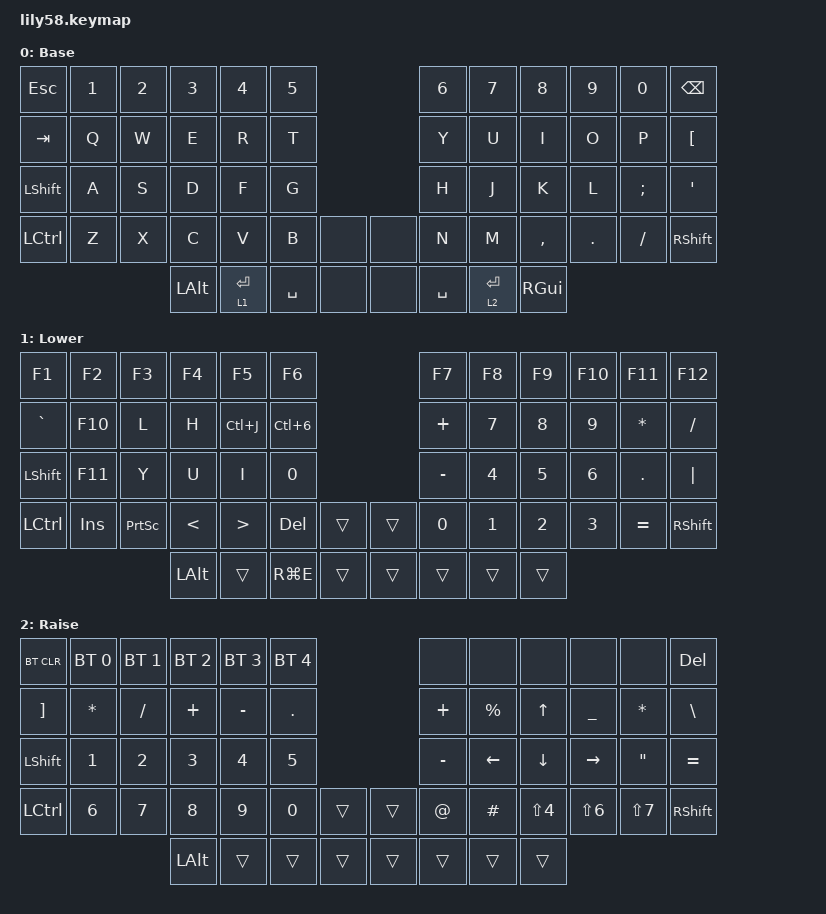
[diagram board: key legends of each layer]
/*
 * Copyright (c) 2020 The ZMK Contributors
 *
 * SPDX-License-Identifier: MIT
 */

#include <behaviors.dtsi>
#include <dt-bindings/zmk/bt.h>
#include <dt-bindings/zmk/keys.h>

/ {
    combos {
        compatible = "zmk,combos";

        Left_bracket {
            bindings = <&kp LEFT_BRACKET>;
            key-positions = <16 17>;
        };

        Right_bracket {
            bindings = <&kp RIGHT_BRACKET>;
            key-positions = <18 19>;
        };

        Left_parent {
            bindings = <&kp LEFT_PARENTHESIS>;
            key-positions = <28 29>;
        };

        Right_parent {
            bindings = <&kp RIGHT_PARENTHESIS>;
            key-positions = <30 31>;
        };

        Left_brace {
            bindings = <&kp LEFT_BRACE>;
            key-positions = <40 41>;
        };

        Right_brace {
            bindings = <&kp RIGHT_BRACE>;
            key-positions = <44 45>;
        };
    };

    behaviors {
        ss_hs_modmorph: ss_hs_modmorph {
            compatible = "zmk,behavior-mod-morph";
            label = "SS_HS_MODMORPH";
            bindings = <&kp M>, <&kp RIGHT_BRACKET>;

            #binding-cells = <0>;
            mods = <(MOD_LSFT|MOD_RSFT)>;
        };

        kh_hs_tapdance: kh_hs_tapdance {
            compatible = "zmk,behavior-tap-dance";
            label = "KH_HS_TAPDANCE";
            #binding-cells = <0>;
            tapping-term-ms = <200>;
            bindings = <&kp LEFT_BRACKET>, <&kp RIGHT_BRACKET>;
        };

        hrm: hrm {
            compatible = "zmk,behavior-hold-tap";
            #binding-cells = <2>;
            flavor = "tap-preferred";
            tapping-term-ms = <200>;
            quick-tap-ms = <200>;
            require-prior-idle-ms = <125>;
            bindings = <&kp>, <&kp>;
        };
    };

    keymap {
        compatible = "zmk,keymap";

        Base {
            // ------------------------------------------------------------------------------------------------------------
            // |  ESC  |  1  |  2  |  3   |  4   |  5   |                   |  6   |  7    |  8    |  9   |   0   |   `   |
            // |  TAB  |  Q  |  W  |  E   |  R   |  T   |                   |  Y   |  U    |  I    |  O   |   P   |   -   |
            // |  CTRL |  A  |  S  |  D   |  F   |  G   |                   |  H   |  J    |  K    |  L   |   ;   |   '   |
            // | SHIFT |  Z  |  X  |  C   |  V   |  B   |   "["  |  |  "]"  |  N   |  M    |  ,    |  .   |   /   | SHIFT |
            //                     | ALT  | GUI  | LOWER|  SPACE |  | ENTER | RAISE| BSPC  | GUI   |

            bindings = <
&kp ESC           &kp NUMBER_1  &kp NUMBER_2  &kp NUMBER_3  &kp NUMBER_4  &kp NUMBER_5                  &kp NUMBER_6  &kp NUMBER_7  &kp NUMBER_8  &kp NUMBER_9  &kp NUMBER_0  &kp BACKSPACE
&kp TAB           &kp Q         &kp W         &kp E         &kp R         &kp T                         &kp Y         &kp U         &kp I         &kp O         &kp P         &kp LEFT_BRACKET
&kp LEFT_SHIFT    &kp A         &kp S         &kp D         &kp F         &kp G                         &kp H         &kp J         &kp K         &kp L         &kp SEMI      &kp SQT
&kp LEFT_CONTROL  &kp Z         &kp X         &kp C         &kp V         &kp B         &none    &none  &kp N         &kp M         &kp COMMA     &kp DOT       &kp FSLH      &kp RIGHT_SHIFT
                                              &kp LALT      &lt 1 ENTER   &kp SPACE     &none    &none  &kp SPACE     &lt 2 ENTER   &kp RGUI
            >;
        };

        Lower {
            // ------------------------------------------------------------------------------------------------------------
            // | BTCLR | BT1 | BT2 |  BT3 |  BT4 |  BT5 |                   |      |       |       |      |       |       |
            // |  F1   |  F2 |  F3 |  F4  |  F5  |  F6  |                   |  F7  |  F8   |  F9   |  F10 |  F11  |  F12  |
            // |   `   |  !  |  @  |  #   |  $   |  %   |                   |  ^   |  &    |  *    |  (   |   )   |   ~   |
            // |       |     |     |      |      |      |        |  |       |      |  _    |  +    |  {   |   }   |  "|"  |
            //                     |      |      |      |        |  |       |      |       |       |

            bindings = <
&kp F1            &kp F2   &kp F3           &kp F4         &kp F5            &kp F6                              &kp F7     &kp F8  &kp F9  &kp F10  &kp F11       &kp F12
&kp GRAVE         &kp F10  &kp L            &kp H          &kp LC(J)         &kp LC(NUMBER_6)                    &kp PLUS   &kp N7  &kp N8  &kp N9   &kp ASTERISK  &kp SLASH
&kp LEFT_SHIFT    &kp F11  &kp Y            &kp U          &kp I             &kp NUMBER_0                        &kp MINUS  &kp N4  &kp N5  &kp N6   &kp DOT       &kp PIPE
&kp LEFT_CONTROL  &kp INS  &kp PRINTSCREEN  &kp LESS_THAN  &kp GREATER_THAN  &kp DEL           &trans    &trans  &kp N0     &kp N1  &kp N2  &kp N3   &kp EQUAL     &kp RIGHT_SHIFT
                                            &kp LEFT_ALT   &trans            &kp RG(E)         &trans    &trans  &trans     &trans  &trans
            >;
        };

        Raise {
            // ------------------------------------------------------------------------------------------------------------
            // |       |     |     |      |      |      |                   |      |       |       |      |       |       |
            // |   `   |  1  |  2  |  3   |  4   |  5   |                   |  6   |   7   |   8   |  9   |   0   |       |
            // |   F1  |  F2 |  F3 |  F4  |  F5  |  F6  |                   |      |   <-  |   v   |  ^   |  ->   |       |
            // |   F7  |  F8 |  F9 |  F10 |  F11 |  F12 |        |  |       |  +   |   -   |   =   |  [   |   ]   |   \   |
            //                     |      |      |      |        |  |       |      |       |       |

            bindings = <
&bt BT_CLR         &bt BT_SEL 0  &bt BT_SEL 1  &bt BT_SEL 2  &bt BT_SEL 3  &bt BT_SEL 4                    &none        &none        &none             &none             &none              &kp DEL
&kp RIGHT_BRACKET  &kp ASTERISK  &kp SLASH     &kp PLUS      &kp MINUS     &kp DOT                         &kp PLUS     &kp PERCENT  &kp UP_ARROW      &kp UNDERSCORE    &kp ASTERISK       &kp BACKSLASH
&kp LEFT_SHIFT     &kp NUMBER_1  &kp NUMBER_2  &kp NUMBER_3  &kp NUMBER_4  &kp NUMBER_5                    &kp MINUS    &kp LEFT     &kp DOWN          &kp RIGHT_ARROW   &kp DOUBLE_QUOTES  &kp EQUAL
&kp LEFT_CONTROL   &kp NUMBER_6  &kp NUMBER_7  &kp NUMBER_8  &kp NUMBER_9  &kp NUMBER_0  &trans    &trans  &kp AT_SIGN  &kp HASH     &kp LS(NUMBER_4)  &kp LS(NUMBER_6)  &kp LS(NUMBER_7)   &kp RIGHT_SHIFT
                                               &kp LEFT_ALT  &trans        &trans        &trans    &trans  &trans       &trans       &trans
            >;
        };
    };
};
